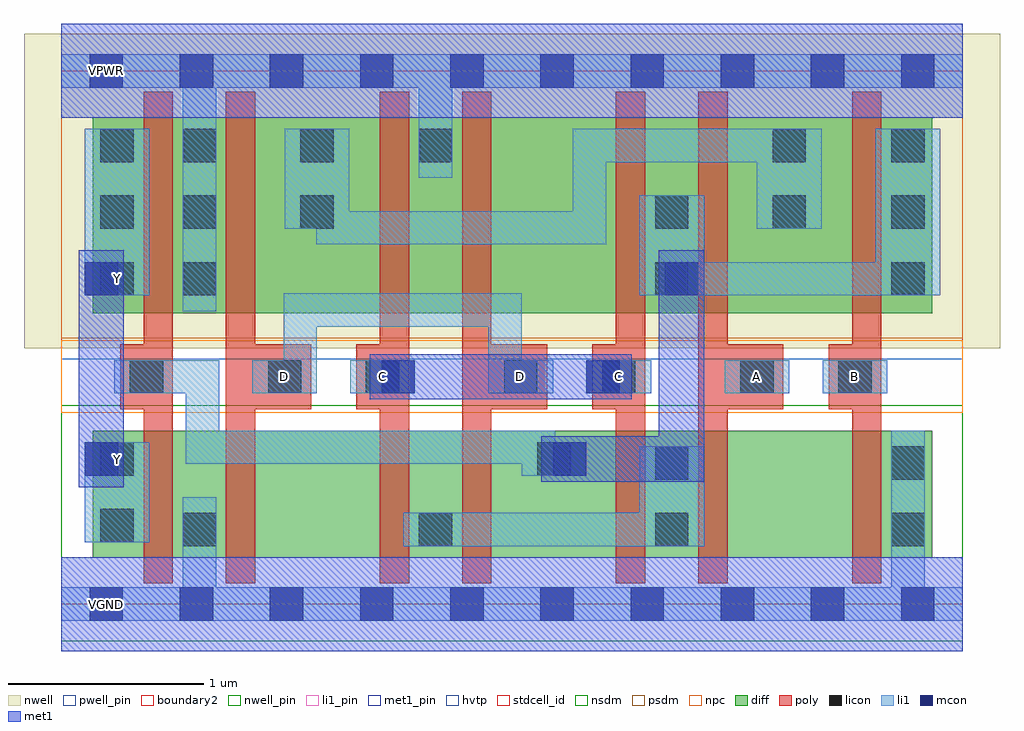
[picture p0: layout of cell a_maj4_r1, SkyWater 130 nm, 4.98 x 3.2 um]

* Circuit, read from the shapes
.subckt a_maj4_r1 A B C D VGND VNB VPB VPWR Y
XM1 VGND n1 Y VNB sky130_fd_pr__nfet_01v8 w=0.65 l=0.15
XM2 n2 D VGND VNB sky130_fd_pr__nfet_01v8 w=0.65 l=0.15
XM3 n3 C n2 VNB sky130_fd_pr__nfet_01v8 w=0.65 l=0.15
XM4 n1 D n3 VNB sky130_fd_pr__nfet_01v8 w=0.65 l=0.15
XM5 n3 C n1 VNB sky130_fd_pr__nfet_01v8 w=0.65 l=0.15
XM6 n4 A n3 VNB sky130_fd_pr__nfet_01v8 w=0.65 l=0.15
XM7 VGND B n4 VNB sky130_fd_pr__nfet_01v8 w=0.65 l=0.15
XM8 VPWR n1 Y VPB sky130_fd_pr__pfet_01v8_hvt w=1 l=0.15
XM9 n5 D VPWR VPB sky130_fd_pr__pfet_01v8_hvt w=1 l=0.15
XM10 VPWR C n5 VPB sky130_fd_pr__pfet_01v8_hvt w=1 l=0.15
XM11 n6 D VPWR VPB sky130_fd_pr__pfet_01v8_hvt w=1 l=0.15
XM12 n1 C n6 VPB sky130_fd_pr__pfet_01v8_hvt w=1 l=0.15
XM13 n5 A n1 VPB sky130_fd_pr__pfet_01v8_hvt w=1 l=0.15
XM14 n1 B n5 VPB sky130_fd_pr__pfet_01v8_hvt w=1 l=0.15
.ends

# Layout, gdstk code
import gdstk
lib = gdstk.Library(unit=1e-6, precision=1e-09)
def R(c, l, rs):  # rectangles x0, y0, x1, y1
    for r in rs: c.add(gdstk.rectangle(r[:2], r[2:], *l))
def A(c, l, x, y, w, h, nx, ny, dx, dy):  # array of equal rectangles
    R(c, l, [(x+i*dx, y+j*dy, x+i*dx+w, y+j*dy+h) for i in range(nx) for j in range(ny)])
nwell_pin = (64, 16)
nwell = (64, 20)
diff = (65, 20)
poly = (66, 20)
licon = (66, 44)
li1_pin = (67, 16)
li1 = (67, 20)
mcon = (67, 44)
met1_pin = (68, 16)
met1 = (68, 20)
hvtp = (78, 44)
stdcell_id = (81, 4)
nsdm = (93, 44)
psdm = (94, 20)
npc = (95, 20)
pwell_pin = (122, 16)
boundary2 = (236, 0)

a_maj4_r1 = lib.new_cell('a_maj4_r1')
R(a_maj4_r1, nwell_pin, [(0.145,2.635,0.315,2.805)])
R(a_maj4_r1, nwell, [(-0.19,1.305,4.79,2.91)])
R(a_maj4_r1, diff, [(0.16,0.235,0.705,0.885), (0.705,0.235,1.305,0.885), (1.305,0.235,1.91,0.885), (1.91,0.235,2.51,0.885), (2.51,0.235,3.115,0.885), (3.115,0.235,3.72,0.885), (3.72,0.235,4.445,0.885), (0.16,1.485,0.705,2.485), (0.705,1.485,1.305,2.485), (1.305,1.485,1.91,2.485), (1.91,1.485,2.51,2.485), (2.51,1.485,3.115,2.485), (3.115,1.485,3.72,2.485), (3.72,1.485,4.445,2.485)])
A(a_maj4_r1, poly, 0.3, 0.995, 0.27, 0.33, 4, 1, 1.205, 0)
A(a_maj4_r1, poly, 0.84, 0.995, 0.435, 0.33, 3, 1, 1.205, 0)
R(a_maj4_r1, poly, [(0.42,0.105,0.57,2.615), (0.84,0.105,0.99,2.615), (1.625,0.105,1.775,2.615), (2.045,0.105,2.195,2.615), (2.83,0.105,2.98,2.615), (3.25,0.105,3.4,2.615), (4.035,0.105,4.185,2.615)])
A(a_maj4_r1, licon, 0.62, 0.295, 0.17, 0.17, 4, 1, 1.205, 0)
A(a_maj4_r1, licon, 0.2, 1.575, 0.17, 0.17, 1, 3, 0, 0.34)
A(a_maj4_r1, licon, 0.62, 1.575, 0.17, 0.17, 1, 3, 0, 0.34)
A(a_maj4_r1, licon, 4.235, 1.575, 0.17, 0.17, 1, 3, 0, 0.34)
R(a_maj4_r1, licon, [(0.2,0.315,0.37,0.485), (3.03,0.635,3.2,0.805), (4.235,0.635,4.405,0.805), (0.2,0.655,0.37,0.825), (2.43,0.655,2.6,0.825), (0.35,1.075,0.52,1.245), (1.055,1.075,1.225,1.245), (1.555,1.075,1.725,1.245), (2.26,1.075,2.43,1.245), (2.76,1.075,2.93,1.245), (3.465,1.075,3.635,1.245), (3.965,1.075,4.135,1.245), (3.03,1.575,3.2,1.745), (1.22,1.915,1.39,2.085), (3.03,1.915,3.2,2.085), (3.63,1.915,3.8,2.085), (1.22,2.255,1.39,2.425), (1.825,2.255,1.995,2.425), (3.63,2.255,3.8,2.425)])
R(a_maj4_r1, li1_pin, [(0.2,0.655,0.37,0.825), (1.055,1.075,1.225,1.245), (1.555,1.075,1.725,1.245), (2.26,1.075,2.43,1.245), (2.76,1.075,2.93,1.245), (3.465,1.075,3.635,1.245), (3.965,1.075,4.135,1.245), (0.2,1.575,0.37,1.745)])
R(a_maj4_r1, li1, [(0,-0.085,4.6,0.085), (0.62,-0.085,0.79,0.545), (4.235,-0.085,4.405,0.545), (1.745,0.295,2.075,0.465), (1.905,0.295,3.12,0.465), (2.95,0.295,3.28,0.465), (2.95,0.295,3.28,0.805), (4.235,0.295,4.405,0.885), (0.12,0.315,0.45,0.825), (0.12,0.655,0.45,0.825), (2.35,0.655,2.68,0.825), (2.35,0.655,2.52,0.885), (0.635,0.715,0.805,1.245), (0.635,0.715,2.52,0.885), (0.27,1.075,0.6,1.245), (0.43,1.075,0.805,1.245), (0.6,1.075,0.635,1.245), (0.6,1.075,0.635,1.245), (0.6,1.075,0.635,1.245), (0.6,1.075,0.635,1.245), (0.975,1.075,1.305,1.245), (1.135,1.075,1.305,1.585), (1.475,1.075,1.805,1.245), (2.18,1.075,2.51,1.245), (2.18,1.075,2.35,1.585), (2.68,1.075,3.01,1.245), (3.385,1.075,3.715,1.245), (3.885,1.075,4.215,1.245), (1.135,1.415,2.35,1.585), (0.62,1.495,0.79,2.085), (0.12,1.575,0.45,1.745), (0.12,1.575,0.45,2.085), (2.95,1.575,3.28,1.745), (2.95,1.575,3.28,2.085), (3.11,1.575,4.325,1.745), (4.155,1.575,4.485,1.745), (4.155,1.575,4.485,2.085), (0.62,1.835,0.79,2.425), (1.3,1.835,1.47,2.425), (1.3,1.835,2.78,2.005), (2.61,1.835,2.78,2.425), (0.12,1.915,0.45,2.425), (1.14,1.915,1.47,2.425), (3.55,1.915,3.88,2.425), (4.155,1.915,4.485,2.425), (0.62,2.085,0.79,2.175), (0.62,2.085,0.79,2.175), (0.62,2.085,0.79,2.175), (0.62,2.085,0.79,2.175), (0.62,2.175,0.79,2.805), (1.825,2.175,1.995,2.805), (1.14,2.255,1.47,2.425), (2.61,2.255,3.72,2.425), (3.55,2.255,3.88,2.425), (0,2.635,4.6,2.805)])
A(a_maj4_r1, mcon, 0.145, -0.085, 0.17, 0.17, 10, 2, 0.46, 2.72)
R(a_maj4_r1, mcon, [(0.12,0.655,0.29,0.825), (2.51,0.655,2.68,0.825), (1.635,1.075,1.805,1.245), (2.68,1.075,2.85,1.245), (0.12,1.575,0.29,1.745), (3.08,1.575,3.25,1.745)])
R(a_maj4_r1, met1_pin, [(0.145,-0.085,0.315,0.085), (0.145,2.635,0.315,2.805)])
R(a_maj4_r1, met1, [(0,-0.24,4.6,0.24), (0.09,0.595,0.32,0.885), (0.09,0.625,0.32,1.775), (2.45,0.625,2.74,0.855), (2.48,0.625,3.28,0.855), (3.05,0.625,3.28,1.775), (1.575,1.045,1.865,1.275), (1.605,1.045,2.88,1.275), (2.62,1.045,2.91,1.275), (0.09,1.515,0.32,1.805), (3.05,1.515,3.28,1.805), (0,2.48,4.6,2.96)])
R(a_maj4_r1, hvtp, [(0,1.25,4.6,2.72)])
R(a_maj4_r1, stdcell_id, [(0,0,4.6,2.72)])
R(a_maj4_r1, nsdm, [(0,-0.19,4.6,1.015)])
R(a_maj4_r1, psdm, [(0,1.355,4.6,2.91)])
R(a_maj4_r1, npc, [(0,0.975,4.6,1.345)])
R(a_maj4_r1, pwell_pin, [(0.145,-0.085,0.315,0.085)])
R(a_maj4_r1, boundary2, [(0,0,4.6,2.72)])
a_maj4_r1.add(gdstk.Label('A', (3.55,1.16), layer=67, texttype=5))
a_maj4_r1.add(gdstk.Label('B', (4.05,1.16), layer=67, texttype=5))
a_maj4_r1.add(gdstk.Label('C', (1.64,1.16), layer=67, texttype=5))
a_maj4_r1.add(gdstk.Label('C', (2.845,1.16), layer=67, texttype=5))
a_maj4_r1.add(gdstk.Label('D', (1.14,1.16), layer=67, texttype=5))
a_maj4_r1.add(gdstk.Label('D', (2.345,1.16), layer=67, texttype=5))
a_maj4_r1.add(gdstk.Label('Y', (0.285,0.74), layer=67, texttype=5))
a_maj4_r1.add(gdstk.Label('Y', (0.285,1.66), layer=67, texttype=5))
a_maj4_r1.add(gdstk.Label('VGND', (0.23,0), layer=68, texttype=5))
a_maj4_r1.add(gdstk.Label('VPWR', (0.23,2.72), layer=68, texttype=5))
a_maj4_r1.add(gdstk.Label('VPB', (0.23,2.72), layer=64, texttype=5))
a_maj4_r1.add(gdstk.Label('VNB', (0.23,0), layer=64, texttype=59))

lib.write_gds('a_maj4_r1.gds')
